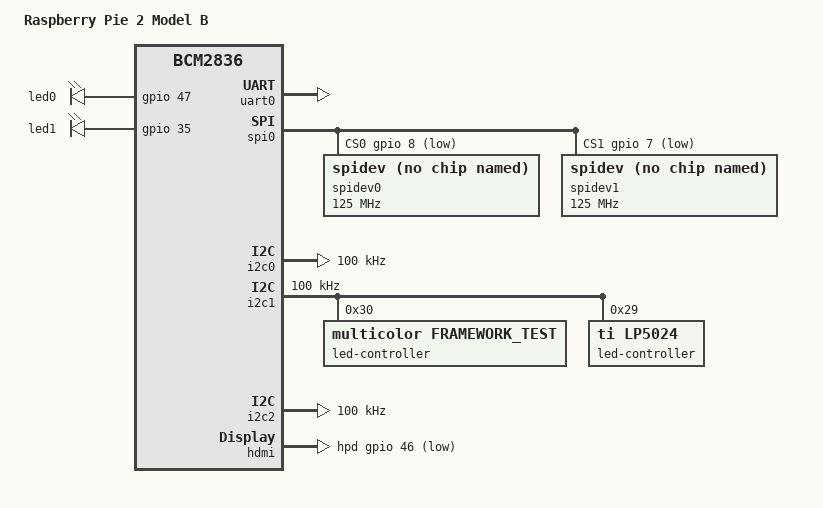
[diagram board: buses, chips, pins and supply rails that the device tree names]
/dts-v1/;

#include "bcm2709.dtsi"
#include "bcm283x-rpi-smsc9514.dtsi"
#include <dt-bindings/leds/common.h>

/ {
	compatible = "raspberrypi,2-model-b", "brcm,bcm2836";
	model = "Raspberry Pie 2 Model B";
};

&gpio {
	spi0_pins: spi0_pins {
		brcm,pins = <9 10 11>;
		brcm,function = <4>; /* alt0 */
	};

	spi0_cs_pins: spi0_cs_pins {
		brcm,pins = <8 7>;
		brcm,function = <1>; /* output */
	};

	i2c0_pins: i2c0 {
		brcm,pins = <0 1>;
		brcm,function = <4>;
	};

	i2c1_pins: i2c1 {
		brcm,pins = <2 3>;
		brcm,function = <4>;
	};

	i2s_pins: i2s {
		brcm,pins = <18 19 20 21>;
		brcm,function = <4>; /* alt0 */
	};

	audio_pins: audio_pins {
		brcm,pins = <40 45>;
		brcm,function = <4>;
	};
};

&uart0 {
	status = "okay";
};

&spi0 {
	pinctrl-names = "default";
	pinctrl-0 = <&spi0_pins &spi0_cs_pins>;
	cs-gpios = <&gpio 8 1>, <&gpio 7 1>;

	spidev0: spidev@0{
		compatible = "spidev";
		reg = <0>;	/* CE0 */
		#address-cells = <1>;
		#size-cells = <0>;
		spi-max-frequency = <125000000>;
	};

	spidev1: spidev@1{
		compatible = "spidev";
		reg = <1>;	/* CE1 */
		#address-cells = <1>;
		#size-cells = <0>;
		spi-max-frequency = <125000000>;
	};
};

&i2c0 {
	pinctrl-names = "default";
	pinctrl-0 = <&i2c0_pins>;
	clock-frequency = <100000>;
};

&i2c1 {
	pinctrl-names = "default";
	pinctrl-0 = <&i2c1_pins>;
	clock-frequency = <100000>;
	status = "okay";

	led-controller@30 {
		#address-cells = <1>;
		#size-cells = <0>;
		compatible = "multicolor,framework_test";
		reg = <0x30>;

		led@0 {
		        reg = <0>;
		        label = "rgb_test1";
			led-colors = <LED_COLOR_ID_AMBER LED_COLOR_ID_RED>;
		};
	};

	led-controller@29 {
		#address-cells = <1>;
		#size-cells = <0>;
		compatible = "ti,lp5024";
		reg = <0x29>;
		/*enable-gpios = <&gpio1 28 GPIO_ACTIVE_HIGH>;*/
		/* vled-supply = <&vmmcsd_fixed>; */

		led@0 {
			reg = <0>;
			label = "banked_leds";
			ti,led-bank = <0 2 5 3 >;
			led-colors = <LED_COLOR_ID_RED LED_COLOR_ID_GREEN LED_COLOR_ID_BLUE>;
		};

		led@1 {
			reg = <1>;
			label = "led1_mod";
			led-colors = <LED_COLOR_ID_RED LED_COLOR_ID_GREEN LED_COLOR_ID_BLUE>;
		};

		led@4 {
			reg = <4>;
			label = "led4_mod";
			led-colors = <LED_COLOR_ID_RED>;
		};

		led@6 {
			reg = <6>;
			label = "led6_mod";
			led-colors = <LED_COLOR_ID_RED>;
		};

		led@7 {
			reg = <7>;
			label = "led7_mod";
			led-colors = <LED_COLOR_ID_RED>;
		};
	};
};

&i2c2 {
	clock-frequency = <100000>;
};

&i2s {
	pinctrl-names = "default";
	pinctrl-0 = <&i2s_pins>;
};

&leds {
	act_led: act {
		label = "led0";
		linux,default-trigger = "mmc0";
		gpios = <&gpio 47 0>;
	};

	pwr_led: pwr {
		label = "led1";
		linux,default-trigger = "input";
		gpios = <&gpio 35 0>;
	};
};

&hdmi {
	hpd-gpios = <&gpio 46 GPIO_ACTIVE_LOW>;
};

&audio {
	pinctrl-names = "default";
	pinctrl-0 = <&audio_pins>;
};

/ {
	__overrides__ {
		act_led_gpio = <&act_led>,"gpios:4";
		act_led_activelow = <&act_led>,"gpios:8";
		act_led_trigger = <&act_led>,"linux,default-trigger";

		pwr_led_gpio = <&pwr_led>,"gpios:4";
		pwr_led_activelow = <&pwr_led>,"gpios:8";
		pwr_led_trigger = <&pwr_led>,"linux,default-trigger";
	};
};
